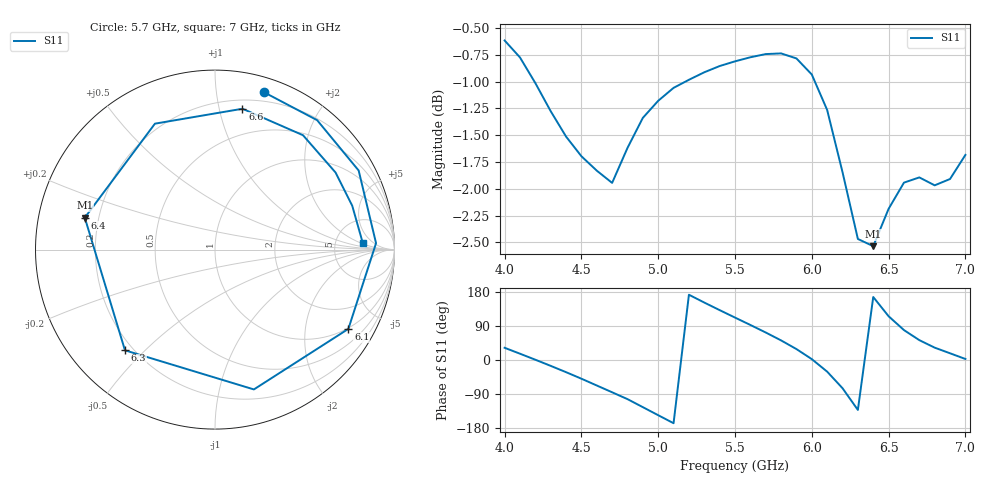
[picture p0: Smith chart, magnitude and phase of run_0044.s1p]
! Touchstone file exported from HFSS 2024.2.0
!  File:  C:/Users/wsak9/Desktop/Sim Fast/Widenad Patch/WP_AI_V1_sweep.aedt
!  Generated:  04:41:02 PM Oct 13, 2026
!  Design:  A1_model
!  Project:  WP_AI_V1_sweep
!  Setup:  Setup1
!  Solution:  Sweep
! Variables:
!  Air_gap = 2.38mm
!  Curve_Amp1 = 0.92
!  Curve_len1 = 1
!  Curve_pos = 9.85mm
!  Extra = 7.57mm
!  H_sub = 0.79mm
!  L_Patch = 15.7mm
!  L_Patch1 = 22.74mm
!  Sx = 1.91mm
!  Sy = 2.78mm
!  WS = 0.76mm
!  W_Patch = 13.01mm
!  W_Patch1 = 15.17mm
!Data is not renormalized
# GHz S MA
! Terminal data exported
! Port[1] = 1
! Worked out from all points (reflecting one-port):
!   31 points, 4 GHz to 7 GHz, reference per port
!   lowest |S11| = -2.5 dB at 6.4 GHz (marker M1), VSWR 6.90
!   phase of S11 starts at 32 deg and turns -750 deg over the sweep
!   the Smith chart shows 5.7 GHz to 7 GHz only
!   S11 on the Smith chart (normalised r, x): 5.7 GHz: 0.12, +1.35; 6.1 GHz: 0.97, -3.38; 6.3 GHz: 0.17, -0.44; 6.4 GHz: 0.15, +0.12; 6.6 GHz: 0.27, +1.18; 7 GHz: 10, +2
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4  0.9314 32.2
4.1  0.9146 16.6
4.2  0.8898 0.7
4.3  0.8633 -15.5
4.4  0.8401 -32.1
4.6  0.8099 -67.3
4.8  0.8299 -103.3
4.9  0.8572 -124.4
5  0.873 -145.7
5.1  0.8852 -166.8
5.2  0.8929 172.2
5.3  0.9001 151.6
5.4  0.9062 131.6
5.5  0.9108 112.0
5.6  0.9148 92.5
5.7  0.9179 72.6
5.8  0.9186 51.7
5.9  0.9136 28.8
6  0.898 2.3
6.1  0.8644 -30.7
6.2  0.8086 -74.5
6.3  0.7526 -131.8
6.4  0.7468 166.2
6.5  0.7774 115.5
6.6  0.7996 79.0
6.7  0.8041 52.4
6.8  0.7972 32.6
7  0.8237 2.7
